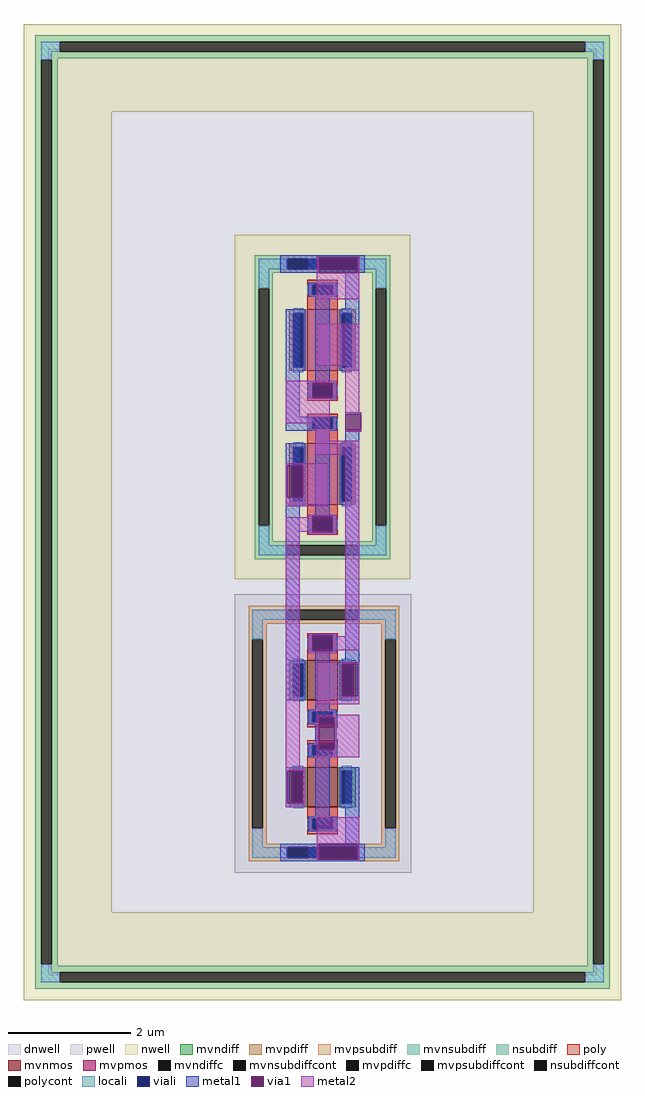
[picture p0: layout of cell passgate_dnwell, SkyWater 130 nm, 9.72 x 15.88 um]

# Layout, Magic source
magic
tech sky130A
magscale 1 2
<< dnwell >>
rect -654 -335 1130 2682
<< nwell >>
rect -734 2476 1210 2762
rect -734 -129 -448 2476
rect 924 -129 1210 2476
rect -734 -415 1210 -129
<< nsubdiff >>
rect -697 2705 1173 2725
rect -697 2671 -617 2705
rect 1093 2671 1173 2705
rect -697 2651 1173 2671
rect -697 2645 -623 2651
rect -697 -298 -677 2645
rect -643 -298 -623 2645
rect -697 -304 -623 -298
rect 1099 2645 1173 2651
rect 1099 -298 1119 2645
rect 1153 -298 1173 2645
rect 1099 -304 1173 -298
rect -697 -324 1173 -304
rect -697 -358 -617 -324
rect 1093 -358 1173 -324
rect -697 -378 1173 -358
<< nsubdiffcont >>
rect -617 2671 1093 2705
rect -677 -298 -643 2645
rect 1119 -298 1153 2645
rect -617 -358 1093 -324
<< locali >>
rect -677 2671 -617 2705
rect 1093 2671 1153 2705
rect -677 2645 -643 2671
rect -677 -324 -643 -298
rect 1119 2645 1153 2671
rect 1119 -324 1153 -298
rect -677 -358 -617 -324
rect 1093 -358 1153 -324
use passgate_single  passgate_single_0
transform 1 0 0 0 1 0
box -48 0 527 2076
<< end >>

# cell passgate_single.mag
magic
tech sky130A
magscale 1 2
use passgate  passgate_0
transform -1 0 476 0 1 0
box 112 42 358 2004
use transistor_quartet_single  transistor_quartet_single_0
transform 1 0 0 0 1 0
box -48 0 527 2076
<< end >>

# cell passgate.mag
magic
tech sky130A
magscale 1 2
<< metal1 >>
rect 118 1952 124 2004
rect 250 1958 284 2004
rect 250 1952 256 1958
rect 118 1633 164 1952
rect 215 1595 261 1900
rect 192 1543 204 1595
rect 272 1543 284 1595
rect 112 1492 164 1498
rect 312 1484 358 1834
rect 112 1434 164 1440
rect 118 685 164 1434
rect 215 1438 358 1484
rect 215 1165 261 1438
rect 312 1332 358 1398
rect 294 1326 358 1332
rect 294 1220 300 1326
rect 352 1220 358 1326
rect 294 1214 358 1220
rect 300 1209 358 1214
rect 192 1159 284 1165
rect 192 1107 204 1159
rect 272 1107 284 1159
rect 192 1101 284 1107
rect 192 720 204 772
rect 272 720 284 772
rect 118 679 182 685
rect 118 573 124 679
rect 176 573 182 679
rect 118 567 182 573
rect 118 561 164 567
rect 215 511 261 720
rect 312 561 358 1209
rect 192 505 261 511
rect 192 399 198 505
rect 250 399 261 505
rect 192 393 261 399
rect 118 94 164 343
rect 215 155 261 393
rect 312 337 358 343
rect 294 331 358 337
rect 294 225 300 331
rect 352 225 358 331
rect 294 219 358 225
rect 312 213 358 219
rect 118 42 124 94
rect 250 88 256 94
rect 250 42 284 88
<< via1 >>
rect 124 1952 250 2004
rect 204 1543 272 1595
rect 112 1440 164 1492
rect 300 1220 352 1326
rect 204 1107 272 1159
rect 204 720 272 772
rect 124 573 176 679
rect 198 399 250 505
rect 300 225 352 331
rect 124 42 250 94
<< metal2 >>
rect 118 1952 124 2004
rect 250 1952 256 2004
rect 118 1866 256 1952
rect 118 1649 256 1787
rect 118 1498 164 1649
rect 192 1595 358 1601
rect 192 1543 204 1595
rect 272 1543 358 1595
rect 192 1537 358 1543
rect 112 1492 164 1498
rect 112 1434 164 1440
rect 215 1463 358 1537
rect 215 1406 261 1463
rect 118 1360 261 1406
rect 118 769 164 1360
rect 220 1326 358 1332
rect 220 1220 300 1326
rect 352 1220 358 1326
rect 220 1193 358 1220
rect 192 1159 284 1165
rect 192 1107 204 1159
rect 272 1156 284 1159
rect 272 1110 358 1156
rect 272 1107 284 1110
rect 192 1101 284 1107
rect 192 772 284 778
rect 192 769 204 772
rect 118 723 204 769
rect 192 720 204 723
rect 272 720 284 772
rect 192 714 284 720
rect 118 679 256 685
rect 118 573 124 679
rect 176 573 256 679
rect 118 547 256 573
rect 118 505 256 513
rect 118 399 198 505
rect 250 399 256 505
rect 118 375 256 399
rect 312 343 358 1110
rect 294 331 358 343
rect 294 225 300 331
rect 352 225 358 331
rect 294 213 358 225
rect 118 94 256 180
rect 118 42 124 94
rect 250 42 256 94
<< labels >>
flabel metal2 118 375 256 513 0 FreeSans 256 0 0 0 EN
port 0 nsew
flabel metal2 118 547 256 685 0 FreeSans 256 0 0 0 UA
port 1 nsew
flabel metal2 220 1193 358 1331 0 FreeSans 256 0 0 0 UB
port 2 nsew
flabel metal2 118 1866 256 2004 0 FreeSans 256 0 0 0 VDD
port 3 nsew
flabel metal2 118 42 256 180 0 FreeSans 256 0 0 0 VSS
port 4 nsew
<< end >>

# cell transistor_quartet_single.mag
magic
tech sky130A
magscale 1 2
<< nwell >>
rect -48 954 524 2076
<< pwell >>
rect -48 0 527 905
<< mvnmos >>
rect 188 561 288 691
rect 188 213 288 343
<< mvpmos >>
rect 188 1633 288 1833
rect 188 1197 288 1397
<< mvndiff >>
rect 130 679 188 691
rect 130 573 142 679
rect 176 573 188 679
rect 130 561 188 573
rect 288 679 346 691
rect 288 573 300 679
rect 334 573 346 679
rect 288 561 346 573
rect 130 331 188 343
rect 130 225 142 331
rect 176 225 188 331
rect 130 213 188 225
rect 288 331 346 343
rect 288 225 300 331
rect 334 225 346 331
rect 288 213 346 225
<< mvpdiff >>
rect 130 1821 188 1833
rect 130 1645 142 1821
rect 176 1645 188 1821
rect 130 1633 188 1645
rect 288 1821 346 1833
rect 288 1645 300 1821
rect 334 1645 346 1821
rect 288 1633 346 1645
rect 130 1385 188 1397
rect 130 1209 142 1385
rect 176 1209 188 1385
rect 130 1197 188 1209
rect 288 1385 346 1397
rect 288 1209 300 1385
rect 334 1209 346 1385
rect 288 1197 346 1209
<< mvndiffc >>
rect 142 573 176 679
rect 300 573 334 679
rect 142 225 176 331
rect 300 225 334 331
<< mvpdiffc >>
rect 142 1645 176 1821
rect 300 1645 334 1821
rect 142 1209 176 1385
rect 300 1209 334 1385
<< mvpsubdiff >>
rect -2 856 488 868
rect -2 822 124 856
rect 352 822 488 856
rect -2 810 488 822
rect -2 760 56 810
rect -2 144 10 760
rect 44 144 56 760
rect 430 760 488 810
rect -2 94 56 144
rect 430 144 442 760
rect 476 144 488 760
rect 430 94 488 144
rect -2 82 488 94
rect -2 48 124 82
rect 352 48 488 82
rect -2 36 488 48
<< mvnsubdiff >>
rect 18 1998 458 2010
rect 18 1964 124 1998
rect 352 1964 458 1998
rect 18 1952 458 1964
rect 18 1902 76 1952
rect 18 1128 30 1902
rect 64 1128 76 1902
rect 400 1902 458 1952
rect 18 1078 76 1128
rect 400 1128 412 1902
rect 446 1128 458 1902
rect 400 1078 458 1128
rect 18 1066 458 1078
rect 18 1032 124 1066
rect 352 1032 458 1066
rect 18 1020 458 1032
<< mvpsubdiffcont >>
rect 124 822 352 856
rect 10 144 44 760
rect 442 144 476 760
rect 124 48 352 82
<< mvnsubdiffcont >>
rect 124 1964 352 1998
rect 30 1128 64 1902
rect 412 1128 446 1902
rect 124 1032 352 1066
<< poly >>
rect 188 1914 288 1930
rect 188 1880 204 1914
rect 272 1880 288 1914
rect 188 1833 288 1880
rect 188 1586 288 1633
rect 188 1552 204 1586
rect 272 1552 288 1586
rect 188 1536 288 1552
rect 188 1478 288 1494
rect 188 1444 204 1478
rect 272 1444 288 1478
rect 188 1397 288 1444
rect 188 1150 288 1197
rect 188 1116 204 1150
rect 272 1116 288 1150
rect 188 1100 288 1116
rect 188 763 288 779
rect 188 729 204 763
rect 272 729 288 763
rect 188 691 288 729
rect 188 523 288 561
rect 188 489 204 523
rect 272 489 288 523
rect 188 473 288 489
rect 188 415 288 431
rect 188 381 204 415
rect 272 381 288 415
rect 188 343 288 381
rect 188 175 288 213
rect 188 141 204 175
rect 272 141 288 175
rect 188 125 288 141
<< polycont >>
rect 204 1880 272 1914
rect 204 1552 272 1586
rect 204 1444 272 1478
rect 204 1116 272 1150
rect 204 729 272 763
rect 204 489 272 523
rect 204 381 272 415
rect 204 141 272 175
<< locali >>
rect 30 1964 124 1998
rect 352 1964 446 1998
rect 30 1902 64 1964
rect 188 1880 204 1914
rect 272 1880 288 1914
rect 412 1902 446 1964
rect 142 1821 176 1837
rect 142 1629 176 1645
rect 300 1821 334 1837
rect 300 1629 334 1645
rect 188 1552 204 1586
rect 272 1552 288 1586
rect 188 1444 204 1478
rect 272 1444 288 1478
rect 142 1385 176 1401
rect 142 1193 176 1209
rect 300 1385 334 1401
rect 300 1193 334 1209
rect 30 1066 64 1128
rect 188 1116 204 1150
rect 272 1116 288 1150
rect 412 1066 446 1128
rect 30 1032 124 1066
rect 352 1032 446 1066
rect 10 822 124 856
rect 352 822 476 856
rect 10 760 44 822
rect 188 729 204 763
rect 272 729 288 763
rect 442 760 476 822
rect 142 679 176 695
rect 142 557 176 573
rect 300 679 334 695
rect 300 557 334 573
rect 188 489 204 523
rect 272 489 288 523
rect 188 381 204 415
rect 272 381 288 415
rect 142 331 176 347
rect 142 209 176 225
rect 300 331 334 347
rect 300 209 334 225
rect 10 82 44 144
rect 188 141 204 175
rect 272 141 288 175
rect 442 82 476 144
rect 10 48 124 82
rect 352 48 476 82
<< viali >>
rect 124 1964 352 1998
rect 204 1880 272 1914
rect 142 1645 176 1821
rect 300 1645 334 1821
rect 204 1552 272 1586
rect 204 1444 272 1478
rect 142 1209 176 1385
rect 300 1209 334 1385
rect 204 1116 272 1150
rect 204 729 272 763
rect 142 573 176 679
rect 300 573 334 679
rect 204 489 272 523
rect 204 381 272 415
rect 142 225 176 331
rect 300 225 334 331
rect 204 141 272 175
rect 124 48 352 82
<< metal1 >>
rect 100 1998 376 2010
rect 100 1964 124 1998
rect 352 1964 376 1998
rect 100 1952 376 1964
rect 192 1914 284 1920
rect 192 1880 204 1914
rect 272 1880 284 1914
rect 192 1874 284 1880
rect 136 1821 182 1833
rect 136 1645 142 1821
rect 176 1645 182 1821
rect 136 1633 182 1645
rect 221 1592 255 1874
rect 294 1821 340 1833
rect 294 1645 300 1821
rect 334 1645 340 1821
rect 294 1633 340 1645
rect 192 1586 284 1592
rect 192 1552 204 1586
rect 272 1552 284 1586
rect 192 1546 284 1552
rect 192 1478 284 1484
rect 192 1444 204 1478
rect 272 1444 284 1478
rect 192 1438 284 1444
rect 136 1385 182 1397
rect 136 1209 142 1385
rect 176 1209 182 1385
rect 136 1197 182 1209
rect 221 1156 255 1438
rect 294 1385 340 1397
rect 294 1209 300 1385
rect 334 1209 340 1385
rect 294 1197 340 1209
rect 192 1150 284 1156
rect 192 1116 204 1150
rect 272 1116 284 1150
rect 192 1110 284 1116
rect 192 763 284 769
rect 192 729 204 763
rect 272 729 284 763
rect 192 723 284 729
rect 136 679 182 691
rect 136 573 142 679
rect 176 573 182 679
rect 136 561 182 573
rect 221 529 255 723
rect 294 679 340 691
rect 294 573 300 679
rect 334 573 340 679
rect 294 561 340 573
rect 192 523 284 529
rect 192 489 204 523
rect 272 489 284 523
rect 192 483 284 489
rect 192 415 284 421
rect 192 381 204 415
rect 272 381 284 415
rect 192 375 284 381
rect 136 331 182 343
rect 136 225 142 331
rect 176 225 182 331
rect 136 213 182 225
rect 221 181 255 375
rect 294 331 340 343
rect 294 225 300 331
rect 334 225 340 331
rect 294 213 340 225
rect 192 175 284 181
rect 192 141 204 175
rect 272 141 284 175
rect 192 135 284 141
rect 100 82 376 94
rect 100 48 124 82
rect 352 48 376 82
rect 100 36 376 48
<< labels >>
flabel metal1 100 1952 376 2010 0 FreeSans 256 0 0 0 VDD
port 1 nsew power bidirectional
flabel metal1 100 36 376 94 0 FreeSans 256 0 0 0 VSS
port 2 nsew ground bidirectional
<< end >>
